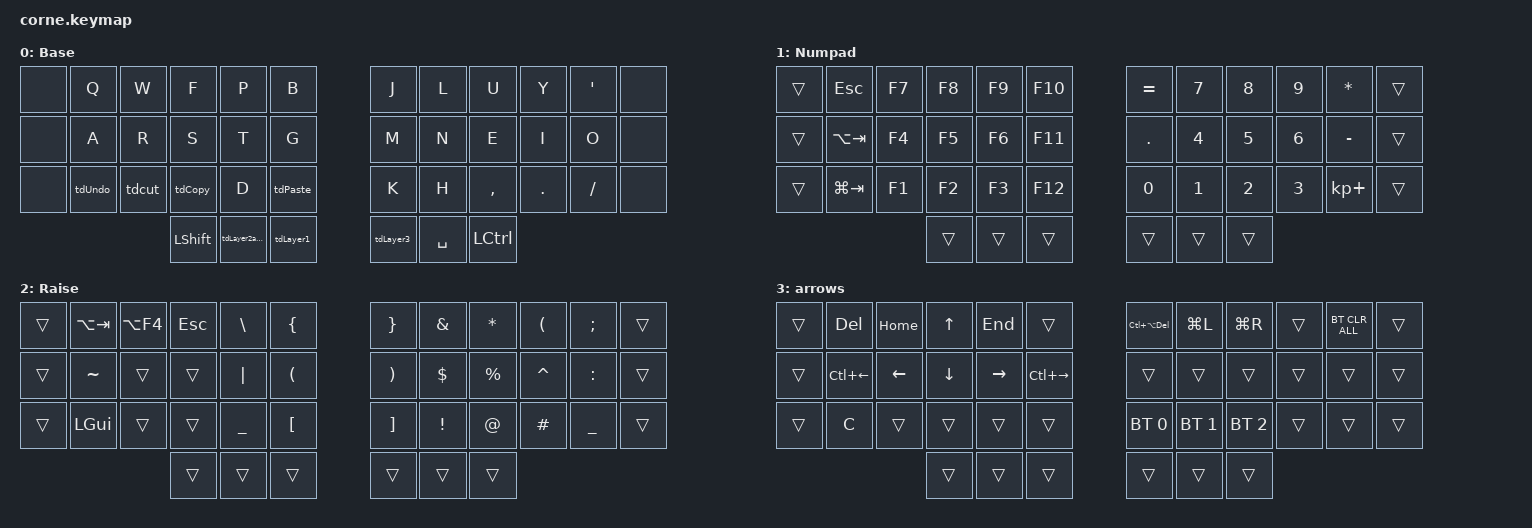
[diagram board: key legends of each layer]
/*
 * Copyright (c) 2020 The ZMK Contributors
 *
 * SPDX-License-Identifier: MIT
 */

#include <behaviors.dtsi>
#include <dt-bindings/zmk/bt.h>
#include <dt-bindings/zmk/keys.h>

/ {
    behaviors {
        tdLayer2and3: tdLayer2and3 {
            compatible = "zmk,behavior-tap-dance";
            label = "TDLAYER2AND3";
            #binding-cells = <0>;
            bindings = <&lt 2 SPACE>, <&lt 3 TAB>;

            tapping-term-ms = <175>;
        };

        tdLayer1: tdLayer1 {
            compatible = "zmk,behavior-tap-dance";
            label = "TDLAYER1";
            #binding-cells = <0>;
            bindings = <&lt 1 BACKSPACE>, <&mt BACKSPACE LC(BACKSPACE)>;

            tapping-term-ms = <175>;
        };

        tdCopy: tdCopy {
            compatible = "zmk,behavior-tap-dance";
            label = "TDCOPY";
            #binding-cells = <0>;
            tapping-term-ms = <175>;
            bindings = <&kp C>, <&kp LC(C)>;
        };

        tdPaste: tdPaste {
            compatible = "zmk,behavior-tap-dance";
            label = "TDPASTE";
            #binding-cells = <0>;
            bindings = <&kp V>, <&kp LC(V)>;

            tapping-term-ms = <175>;
        };

        tdUndo: tdUndo {
            compatible = "zmk,behavior-tap-dance";
            label = "TDUNDO";
            #binding-cells = <0>;
            bindings = <&kp Z>, <&kp LC(Z)>;

            tapping-term-ms = <175>;
        };

        tdcut: tdcut {
            compatible = "zmk,behavior-tap-dance";
            label = "TDCUT";
            #binding-cells = <0>;
            bindings = <&kp X>, <&kp LC(X)>;

            tapping-term-ms = <175>;
        };

        tdLayer3: tdLayer3 {
            compatible = "zmk,behavior-tap-dance";
            label = "TDLAYER3";
            #binding-cells = <0>;
            bindings = <&lt 3 ENTER>;
            tapping-term-ms = <175>;
        };

        tdControlAlt: tdControlAlt {
            compatible = "zmk,behavior-tap-dance";
            label = "TDCONTROLALT";
            #binding-cells = <0>;
            bindings = <&kp LEFT_CONTROL>, <&kp LEFT_ALT>;
        };
    };

    keymap {
        compatible = "zmk,keymap";

        default_layer {
            // -----------------------------------------------------------------------------------------
            // |  TAB |  Q  |  W  |  E  |  R  |  T  |   |  Y  |  U   |  I  |  O  |  P  | BKSP |
            // | CTRL |  A  |  S  |  D  |  F  |  G  |   |  H  |  J   |  K  |  L  |  ;  |  '   |
            // | SHFT |  Z  |  X  |  C  |  V  |  B  |   |  N  |  M   |  ,  |  .  |  /  | ESC  |
            //                    | GUI | LWR | SPC |   | ENT | RSE  | ALT |

            label = "Base";
            bindings = <
&none  &kp Q    &kp W   &kp F       &kp P          &kp B        &kp J      &kp L      &kp U      &kp Y    &kp SQT   &none
&none  &kp A    &kp R   &kp S       &kp T          &kp G        &kp M      &kp N      &kp E      &kp I    &kp O     &none
&none  &tdUndo  &tdcut  &tdCopy     &kp D          &tdPaste     &kp K      &kp H      &kp COMMA  &kp DOT  &kp FSLH  &none
                        &kp LSHIFT  &tdLayer2and3  &tdLayer1    &tdLayer3  &kp SPACE  &kp LCTRL
            >;
        };

        numpad_layer {
            // -----------------------------------------------------------------------------------------
            // |  TAB |  1  |  2  |  3  |  4  |  5  |   |  6  |  7  |  8  |  9  |  0  | BKSP |
            // | BTCLR| BT1 | BT2 | BT3 | BT4 | BT5 |   | LFT | DWN |  UP | RGT |     |      |
            // | SHFT |     |     |     |     |     |   |     |     |     |     |     |      |
            //                    | GUI |     | SPC |   | ENT |     | ALT |

            label = "Numpad";
            bindings = <
&trans  &kp ESCAPE   &kp F7  &kp F8  &kp F9  &kp F10    &kp EQUAL   &kp N7        &kp N8        &kp N9        &kp ASTRK    &trans
&trans  &kp LA(TAB)  &kp F4  &kp F5  &kp F6  &kp F11    &kp PERIOD  &kp NUMBER_4  &kp N5        &kp NUMBER_6  &kp MINUS    &trans
&trans  &kp LG(TAB)  &kp F1  &kp F2  &kp F3  &kp F12    &kp N0      &kp NUMBER_1  &kp NUMBER_2  &kp NUMBER_3  &kp KP_PLUS  &trans
                             &trans  &trans  &trans     &trans      &trans        &trans
            >;
        };

        raise_layer {
            // -----------------------------------------------------------------------------------------
            // |  TAB |  !  |  @  |  #  |  $  |  %  |   |  ^  |  &  |  *  |  (  |  )  | BKSP |
            // | CTRL |     |     |     |     |     |   |  -  |  =  |  [  |  ]  |  \  |  `   |
            // | SHFT |     |     |     |     |     |   |  _  |  +  |  {  |  }  | "|" |  ~   |
            //                    | GUI |     | SPC |   | ENT |     | ALT |

            label = "Raise";
            bindings = <
&trans  &kp LA(TAB)  &kp LA(F4)  &kp ESCAPE  &kp BACKSLASH   &kp LEFT_BRACE          &kp RIGHT_BRACE        &kp AMPERSAND    &kp ASTERISK  &kp LEFT_PARENTHESIS  &kp SEMICOLON   &trans
&trans  &kp TILDE    &trans      &trans      &kp PIPE        &kp LEFT_PARENTHESIS    &kp RIGHT_PARENTHESIS  &kp DOLLAR       &kp PERCENT   &kp CARET             &kp COLON       &trans
&trans  &kp LGUI     &trans      &trans      &kp UNDERSCORE  &kp LEFT_BRACKET        &kp RIGHT_BRACKET      &kp EXCLAMATION  &kp AT_SIGN   &kp HASH              &kp UNDERSCORE  &trans
                                 &trans      &trans          &trans                  &trans                 &trans           &trans
            >;
        };

        arrows {
            bindings = <
&trans  &kp DELETE    &kp HOME  &kp UP_ARROW  &kp END    &trans           &kp LC(LA(DELETE))  &kp LG(L)     &kp LG(R)     &trans  &bt BT_CLR_ALL  &trans
&trans  &kp LC(LEFT)  &kp LEFT  &kp DOWN      &kp RIGHT  &kp LC(RIGHT)    &trans              &trans        &trans        &trans  &trans          &trans
&trans  &kp C         &trans    &trans        &trans     &trans           &bt BT_SEL 0        &bt BT_SEL 1  &bt BT_SEL 2  &trans  &trans          &trans
                                &trans        &trans     &trans           &trans              &trans        &trans
            >;
        };
    };
};
